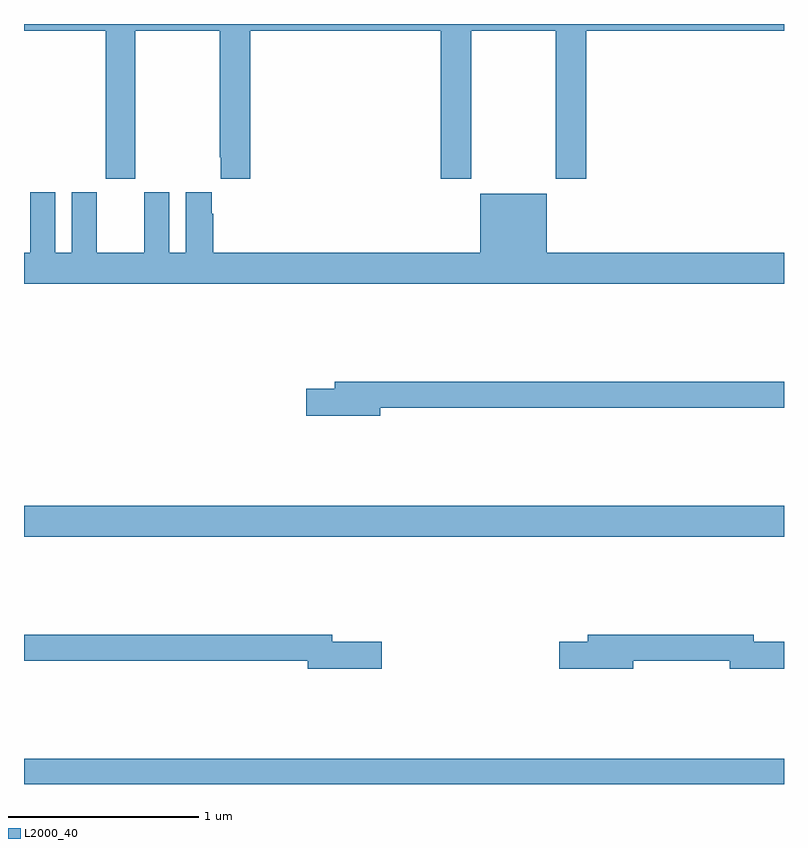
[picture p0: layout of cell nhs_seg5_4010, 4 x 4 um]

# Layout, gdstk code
import gdstk
lib = gdstk.Library(unit=1e-6, precision=1e-09)
def R(c, l, rs):  # rectangles x0, y0, x1, y1
    for r in rs: c.add(gdstk.rectangle(r[:2], r[2:], *l))
def P(c, l, *ps):  # polygons
    for p in ps: c.add(gdstk.Polygon(p, *l))
L2000_40 = (2000, 40)

nhs_seg5_4010 = lib.new_cell('nhs_seg5_4010')
R(nhs_seg5_4010, L2000_40, [(347,848.799,351,848.932), (347,850.1,351,850.264)])
P(nhs_seg5_4010, L2000_40, [(347.586,852.764),(348.031,852.764),(348.031,852.097),(348.035,852.097),(348.035,851.985),(348.191,851.985),(348.191,852.764),(349.193,852.764),(349.193,851.985),(349.353,851.985),(349.353,852.764),(349.798,852.764),(349.798,851.985),(349.958,851.985),(349.958,852.764),(351,852.764),(351,852.799),(347,852.799),(347,852.764),(347.431,852.764),(347.431,851.985),(347.586,851.985)],
  [(351,851.596),(349.75,851.596),(349.75,851.905),(349.4,851.905),(349.4,851.596),(347.996,851.596),(347.996,851.801),(347.989,851.801),(347.989,851.914),(347.852,851.914),(347.852,851.596),(347.764,851.596),(347.764,851.914),(347.633,851.914),(347.633,851.596),(347.383,851.596),(347.383,851.914),(347.252,851.914),(347.252,851.596),(347.164,851.596),(347.164,851.914),(347.033,851.914),(347.033,851.596),(347,851.596),(347,851.432),(351,851.432)],
  [(348.874,850.78),(351,850.78),(351,850.916),(348.635,850.916),(348.635,850.88),(348.486,850.88),(348.486,850.738),(348.874,850.738)],
  [(348.883,849.548),(348.622,849.548),(348.622,849.584),(347,849.584),(347,849.448),(348.494,849.448),(348.494,849.406),(348.883,849.406)],
  [(350.206,849.448),(350.714,849.448),(350.714,849.406),(351,849.406),(351,849.548),(350.842,849.548),(350.842,849.584),(349.967,849.584),(349.967,849.548),(349.818,849.548),(349.818,849.406),(350.206,849.406)])

lib.write_gds('nhs_seg5_4010.gds')
